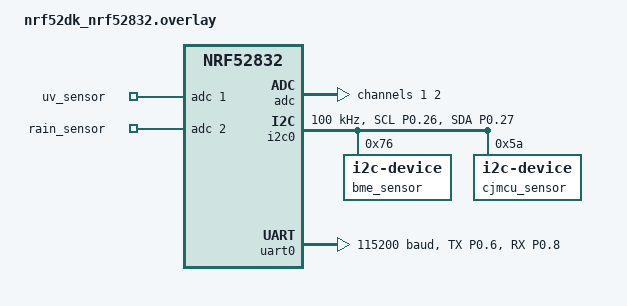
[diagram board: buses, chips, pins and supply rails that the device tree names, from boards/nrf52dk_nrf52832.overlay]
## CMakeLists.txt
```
# SPDX-License-Identifier: Apache-2.0

cmake_minimum_required(VERSION 3.20.0)

find_package(Zephyr REQUIRED HINTS $ENV{ZEPHYR_BASE})
project(meteo_station)

target_sources(app PRIVATE src/main.c)

add_subdirectory(src/bme_sensor)
add_subdirectory(src/ml_sensor)
add_subdirectory(src/cjmcu_sensor)
add_subdirectory(src/ble_beacon)
add_subdirectory(src/mh_rd_sensor)
add_subdirectory(src/thread_worker)
add_subdirectory(src/util)
add_subdirectory(src/uart_report)
```

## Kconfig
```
#Kconfig

mainmenu "Meteo Station Config"

menu "Meteo Station"

  config BLE_DATA_LENGHT
    int "Max number of bytes to be send on ble"
    default 18
    help
      Max number of bytes to be send on ble. This is to be increased if more data is added

  config BME_SENSOR_ENABLE
    bool "Enable the BME sensor"
    default y
    help
      This can be used to enable or disable the BME sensor

  config CJMCU_SENSOR_ENABLE
    bool "Enable the CJMCU sensor"
    default y
    help
      This can be used to enable or disable the CJMCU sensor

  config MH_RD_SENSOR_ENABLE
    bool "Enable the MH_RD sensor"
    default y
    help
      This can be used to enable or disable the MH_RD sensor

  config ML_SENSOR_ENABLE
    bool "Enable the ML sensor"
    default y
    help
      This can be used to enable or disable the ML sensor

  config UART_REPORT_ENABLE
    bool "Enable the uart comm"
    default y
    help
      This can be used to enable or disable the uart comm for error report

  config NUMBER_OF_CB
    int "Number of cb used"
    default 4
    help
      This represent the number of the callbacks needed. If another sensor will be added, this need to be increased in order to send new data
endmenu

source "Kconfig.zephyr"
```

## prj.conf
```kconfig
CONFIG_I2C=y
CONFIG_BT=y
CONFIG_BT_EXT_ADV=y
CONFIG_DK_LIBRARY=y
CONFIG_ADC=y
CONFIG_CBPRINTF_FP_SUPPORT=y
CONFIG_UART_ASYNC_API=y
CONFIG_UART_CONSOLE=y
CONFIG_MULTITHREADING=y
#Custom config 
CONFIG_BT_DEVICE_NAME="Meteo_Station_Beacon"
CONFIG_BME_SENSOR_ENABLE=y
CONFIG_CJMCU_SENSOR_ENABLE=y
CONFIG_MH_RD_SENSOR_ENABLE=y
CONFIG_ML_SENSOR_ENABLE=y
CONFIG_UART_REPORT_ENABLE=y
```

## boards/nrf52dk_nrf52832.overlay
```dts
// To get started, press Ctrl+Space to bring up the completion menu and view the available nodes.
// For more help, browse the DeviceTree documentation at https://docs.zephyrproject.org/latest/guides/dts/index.html


/ {
    zephyr_user: zephyr,user {
        io-channels = <&adc 1>, <&adc 2>;
        io-channel-names = "uv_sensor", "rain_sensor";
    };
};

&adc {
    status = "okay";
    #address-cells = <1>;
    #size-cells = <0>;

    adc_chan1: channel@1 {
        reg = <1>;
        zephyr,gain = "ADC_GAIN_1_6";
        zephyr,reference = "ADC_REF_INTERNAL";
        zephyr,acquisition-time = <ADC_ACQ_TIME_DEFAULT>;
        zephyr,input-positive = <NRF_SAADC_AIN1>;
        zephyr,resolution = <12>;
    };

    adc_chan2: channel@2 {
        reg = <2>;
        zephyr,gain = "ADC_GAIN_1_6";
        zephyr,reference = "ADC_REF_INTERNAL";
        zephyr,acquisition-time = <ADC_ACQ_TIME_DEFAULT>;
        zephyr,input-positive = <NRF_SAADC_AIN2>;
        zephyr,resolution = <12>;
    };
};

&i2c0 {
    status = "okay";
    
    // We need to use TWIM due to TWI driver issues in nRF Connect SDK v3.2.0 (the issue will be fixed in v3.3.0)
    compatible = "nordic,nrf-twim";

    pinctrl-0 = <&i2c0_default>;
    pinctrl-1 = <&i2c0_sleep>;
    pinctrl-names = "default", "sleep";
    
    /* Add I2C frequency */
    clock-frequency = <I2C_BITRATE_STANDARD>;
    
    bme_sensor: bme_sensor@76{
        compatible = "i2c-device";
        status = "okay";
        reg = < 0x76 >;
    };

    cjmcu_sensor: cjmcu_sensor@5a{
        compatible = "i2c-device";
        status = "okay";
        reg = < 0x5a >;
    };
};

&uart0 {
    pinctrl-0 = <&uart0_default>;
    pinctrl-1 = <&uart0_sleep>;
    current-speed = <115200>;
    status = "okay";

};


&pinctrl {
    /omit-if-no-ref/ i2c0_default: i2c0_default {
        group1  {
            psels = <NRF_PSEL(TWIM_SCL, 0, 26)>,
                    <NRF_PSEL(TWIM_SDA, 0, 27)>;
            bias-pull-up;
        };
    };

    /omit-if-no-ref/ i2c0_sleep: i2c0_sleep {
        group1  {
            psels = <NRF_PSEL(TWIM_SCL, 0, 26)>,
                    <NRF_PSEL(TWIM_SDA, 0, 27)>;
            bias-pull-up;
            low-power-enable;
        };
    };
     uart0_default: uart0_default {
        group1 {
            psels = <NRF_PSEL(UART_TX, 0, 6)>;
        };
        group2 {
            psels = <NRF_PSEL(UART_RX, 0, 8)>;
            bias-pull-up;
        };
    };

    uart0_sleep: uart0_sleep {
        group1 {
            psels = <NRF_PSEL(UART_TX, 0, 6)>,
                    <NRF_PSEL(UART_RX, 0, 8)>;
            low-power-enable;
        };
    };
};
```

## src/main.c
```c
#include <zephyr/kernel.h>

#include "thread_worker/thread_worker.h"


int main(void)
{
	return 0;
}
```
